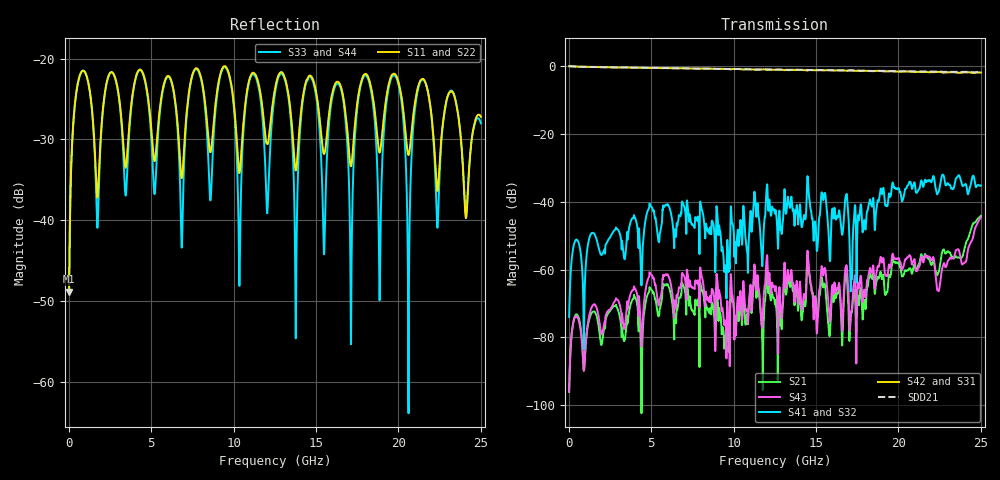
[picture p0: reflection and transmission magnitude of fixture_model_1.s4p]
! By using this Touchstone file you agree to the following terms and conditions.
! Copyright
!	Copyright 2019 Amphenol ICC.
! This Touchstone file has been created for our customers and associates.
! Amphenol ICC retains copyright in the entire text and graphic content of
! this file.  You may view, copy and distribute this file freely.
! You are not authorized to modify this file in any manner without
! the written permission of Amphenol ICC.  All other rights are reserved by Amphenol ICC.
! Information
! Amphenol ICC endeavors to use its reasonable efforts to place accurate and
! up-to-date information in this Touchstone file.  However, this file is
! provided on an as is basis.  AMPHENOL ICC GIVES NO WARRANTY, EXPRESS OR
! IMPLIED, WITH RESPECT TO ANY INFORMATION PROVIDED IN THIS FILE,
! INCLUDING BUT NOT LIMITED TO THE IMPLIED WARRANTIES OF
! MERCHANTABILITY, FITNESS FOR A PARTICULAR PURPOSE OR NON-INFRINGEMENT.
! AMPHENOL ICC SHALL NOT BE LIABLE FOR ANY DIRECT, SPECIAL, INDIRECT,
! CONSEQUENTIAL, PUNITIVE OR OTHER DAMAGES BASED ON USE OF THIS FILE.
! Trademarks
! This file may include names for products that are trademarks
! used by Amphenol ICC and Amphenol group companies.
! Unauthorized use or misuse of such trademarks is prohibited.
#	Hz	S	RI	R	50
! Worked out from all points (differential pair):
!   2500 points, 10 MHz to 25 GHz, reference 50 ohm
!   strongest paths, dB at 10 MHz, 6.26 GHz, 12.51 GHz, 18.76 GHz, 25 GHz:
!     S42: 0.0, -0.6, -1.1, -1.4, -1.9
!     S31: 0.0, -0.6, -1.1, -1.4, -1.9
!     S41: -73.9, -45.2, -43.4, -39.6, -35.2
!     S32: -73.9, -45.2, -43.4, -39.6, -35.2
!     S43: -96.0, -66.5, -66.3, -59.1, -44.6
!     S21: -96.0, -69.5, -70.1, -62.4, -44.2
!   taken as a pair (ports 2,1 in; 4,3 out), SDD21 dB: 0.0, -0.7, -1.1, -1.4, -1.8
!   lowest |S11| = -48.8 dB at 10 MHz (marker M1), VSWR 1.01, Z = 49.9 - j0.356 ohm
!   |S11| at or under -10 dB: start of sweep to end of sweep
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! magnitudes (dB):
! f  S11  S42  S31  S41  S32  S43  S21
! 10 MHz  -48.8  0.0  0.0  -73.9  -73.9  -96.0  -96.0
! 830 MHz  -21.5  -0.2  -0.2  -62.5  -62.5  -84.5  -83.7
! 5.92 GHz  -22.3  -0.6  -0.6  -40.9  -40.9  -61.5  -64.4
! 17.08 GHz  -33.1  -1.3  -1.3  -64.0  -64.0  -75.2  -75.0
! 17.94 GHz  -21.9  -1.4  -1.4  -45.6  -45.6  -66.1  -69.0
! 20.61 GHz  -31.9  -1.6  -1.6  -34.9  -34.9  -56.2  -60.1
! 25 GHz  -27.2  -1.9  -1.9  -35.2  -35.2  -44.6  -44.2
